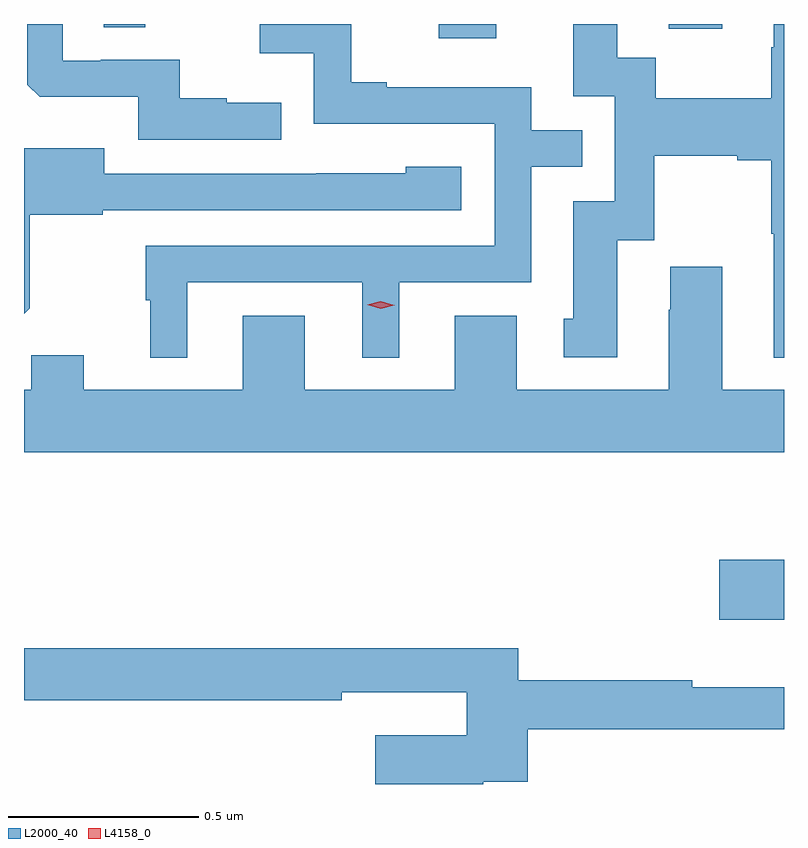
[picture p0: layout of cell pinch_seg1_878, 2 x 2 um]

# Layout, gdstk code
import gdstk
lib = gdstk.Library(unit=1e-6, precision=1e-09)
def R(c, l, rs):  # rectangles x0, y0, x1, y1
    for r in rs: c.add(gdstk.rectangle(r[:2], r[2:], *l))
def P(c, l, *ps):  # polygons
    for p in ps: c.add(gdstk.Polygon(p, *l))
L2000_40 = (2000, 40)
L4158_0 = (4158, 0)

pinch_seg1_878 = lib.new_cell('pinch_seg1_878')
R(pinch_seg1_878, L2000_40, [(468.606,516.659,468.776,516.817), (467.867,518.19,468.019,518.227), (468.473,518.214,468.613,518.227), (466.986,518.218,467.095,518.227)])
P(pinch_seg1_878, L2000_40, [(467.453,518.02),(467.309,518.02),(467.309,518.032),(467.186,518.032),(467.186,518.133),(466.978,518.133),(466.978,518.13),(466.878,518.13),(466.878,518.227),(466.785,518.227),(466.785,518.067),(466.817,518.036),(467.076,518.036),(467.076,517.923),(467.453,517.923)],
  [(468.776,518.227),(468.749,518.227),(468.749,518.166),(468.742,518.166),(468.742,518.032),(468.439,518.032),(468.439,518.138),(468.337,518.138),(468.337,518.227),(468.221,518.227),(468.221,518.037),(468.33,518.037),(468.33,517.761),(468.221,517.761),(468.221,517.452),(468.197,517.452),(468.197,517.35),(468.337,517.35),(468.337,517.658),(468.435,517.658),(468.435,517.88),(468.653,517.88),(468.653,517.868),(468.742,517.868),(468.742,517.675),(468.749,517.675),(468.749,517.349),(468.776,517.349)],
  [(467.206,517.548),(467.666,517.548),(467.666,517.349),(467.764,517.349),(467.764,517.548),(468.111,517.548),(468.111,517.851),(468.245,517.851),(468.245,517.947),(468.111,517.947),(468.111,518.061),(467.731,518.061),(467.731,518.074),(467.637,518.074),(467.637,518.227),(467.397,518.227),(467.397,518.15),(467.538,518.15),(467.538,517.965),(468.015,517.965),(468.015,517.644),(467.097,517.644),(467.097,517.5),(467.108,517.5),(467.108,517.349),(467.206,517.349)],
  [(466.791,517.479),(466.791,517.725),(466.983,517.725),(466.983,517.737),(467.926,517.737),(467.926,517.852),(467.781,517.852),(467.781,517.834),(467.545,517.834),(467.545,517.833),(466.987,517.833),(466.987,517.9),(466.776,517.9),(466.776,517.464)],
  [(468.776,517.264),(468.613,517.264),(468.613,517.588),(468.476,517.588),(468.476,517.475),(468.473,517.475),(468.473,517.264),(468.073,517.264),(468.073,517.459),(467.909,517.459),(467.909,517.264),(467.515,517.264),(467.515,517.459),(467.351,517.459),(467.351,517.264),(466.933,517.264),(466.933,517.355),(466.795,517.355),(466.795,517.264),(466.776,517.264),(466.776,517.1),(468.776,517.1)],
  [(467.984,516.233),(468.101,516.233),(468.101,516.371),(468.776,516.371),(468.776,516.481),(468.534,516.481),(468.534,516.5),(468.077,516.5),(468.077,516.584),(466.776,516.584),(466.776,516.448),(467.612,516.448),(467.612,516.468),(467.941,516.468),(467.941,516.355),(467.7,516.355),(467.7,516.227),(467.984,516.227)])
P(pinch_seg1_878, L4158_0, [(467.715,517.478),(467.679,517.488),(467.679,517.488),(467.679,517.488),(467.715,517.497),(467.75,517.487),(467.751,517.487),(467.75,517.487)])

lib.write_gds('pinch_seg1_878.gds')
